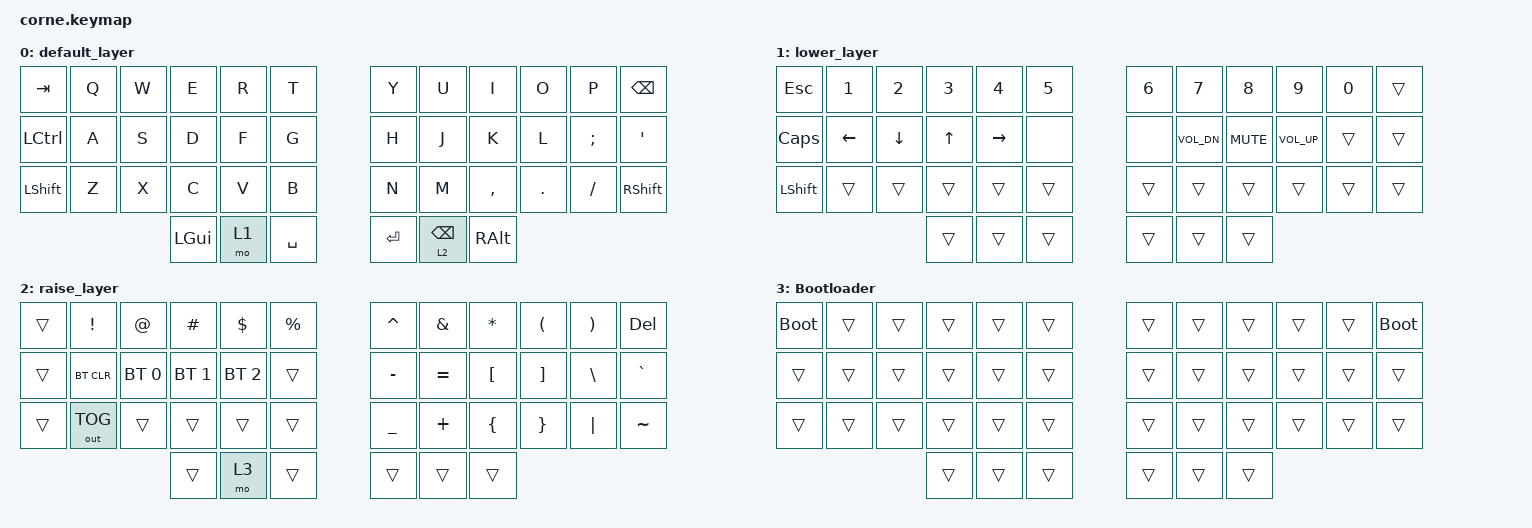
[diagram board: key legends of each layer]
/*
 * Copyright (c) 2020 The ZMK Contributors
 *
 * SPDX-License-Identifier: MIT
 */

#include <behaviors.dtsi>
#include <dt-bindings/zmk/bt.h>
#include <dt-bindings/zmk/keys.h>
#include <dt-bindings/zmk/outputs.h>

#define DEFAULT 0
#define LOWER   1
#define RAISE   2
#define ADJUST  3

&lt {
};

/ {
    conditional_layers {
        compatible = "zmk,conditional-layers";

        tri_layer {
            if-layers = <LOWER RAISE>;
            then-layer = <ADJUST>;
        };
    };

    keymap {
        compatible = "zmk,keymap";

        default_layer {
            // -----------------------------------------------------------------------------------------
            // |  TAB |  Q  |  W  |  E  |  R  |  T      |   |  Y      |  U   |  I  |  O  |  P  | BKSP |
            // | CTRL |  A  |  S  |  D  |  F  |  G      |   |  H      |  J   |  K  |  L  |  ;  |  '   |
            // | SHFT |  Z  |  X  |  C  |  V  |  B      |   |  N      |  M   |  ,  |  .  |  /  | SHFT |
            //                    | GUI | LWR |  SPC    |   | RGUI/ENT | RSE  | ALT |

            bindings = <
&kp TAB    &kp Q  &kp W  &kp E     &kp R  &kp T        &kp Y      &kp U            &kp I      &kp O    &kp P     &kp BSPC
&kp LCTRL  &kp A  &kp S  &kp D     &kp F  &kp G        &kp H      &kp J            &kp K      &kp L    &kp SEMI  &kp SQT
&kp LSHFT  &kp Z  &kp X  &kp C     &kp V  &kp B        &kp N      &kp M            &kp COMMA  &kp DOT  &kp FSLH  &kp RSHFT
                         &kp LGUI  &mo 1  &kp SPACE    &kp ENTER  &lt 2 BACKSPACE  &kp RALT
            >;
        };

        lower_layer {
            // -----------------------------------------------------------------------------------------
            // |  TAB |  1  |  2  |  3  |  4  |  5    |   |  6  |  7  |  8  |  9  |  0  | DEL  |
            // |      | LFT | DWN |  UP | RGT |       |   |     |     |     |     |     |      |
            // | SHFT |     |     |     |     |       |   |     |     |     |     |     |
            //                    | GUI |     | SPC   |   | ENT |     | ALT |

            bindings = <
&kp ESCAPE  &kp N1    &kp N2    &kp N3  &kp N4     &kp N5    &kp N6  &kp N7        &kp N8      &kp N9        &kp N0  &trans
&kp CAPS    &kp LEFT  &kp DOWN  &kp UP  &kp RIGHT  &none     &none   &kp C_VOL_DN  &kp C_MUTE  &kp C_VOL_UP  &trans  &trans
&kp LSHFT   &trans    &trans    &trans  &trans     &trans    &trans  &trans        &trans      &trans        &trans  &trans
                                &trans  &trans     &trans    &trans  &trans        &trans
            >;
        };

        raise_layer {
            // -----------------------------------------------------------------------------------------
            // | ESC  |  !  |  @  |  #  |  $  |  %  |   |  ^  |  &  |  *  |  (  |  )  | BKSP |
            // | CTRL |     |     |     |     |     |   |  -  |  =  |  [  |  ]  |  \  |  `   |
            // | SHFT |     |     |     |     |     |   |  _  |  +  |  {  |  }  | "|" |  ~   |
            //                    | GUI |     | SPC |   | ENT |     | ALT |

            bindings = <
&trans  &kp EXCL    &kp AT        &kp HASH      &kp DLLR      &kp PRCNT    &kp CARET  &kp AMPS   &kp ASTERISK  &kp LPAR  &kp RPAR  &kp DEL
&trans  &bt BT_CLR  &bt BT_SEL 0  &bt BT_SEL 1  &bt BT_SEL 2  &trans       &kp MINUS  &kp EQUAL  &kp LBKT      &kp RBKT  &kp BSLH  &kp GRAVE
&trans  &out OUT_TOG  &trans        &trans        &trans        &trans       &kp UNDER  &kp PLUS   &kp LBRC      &kp RBRC  &kp PIPE  &kp TILDE
                                  &trans        &mo 3         &trans       &trans     &trans     &trans
            >;
        };

        Bootloader {
            bindings = <
&bootloader  &trans  &trans  &trans  &trans  &trans    &trans  &trans  &trans  &trans  &trans  &bootloader
&trans       &trans  &trans  &trans  &trans  &trans    &trans  &trans  &trans  &trans  &trans  &trans
&trans       &trans  &trans  &trans  &trans  &trans    &trans  &trans  &trans  &trans  &trans  &trans
                             &trans  &trans  &trans    &trans  &trans  &trans
            >;
        };

        // -----------------------------------------------------------------------------------------
        // |  F1      |  F2 |  F3   |  F4        | F5   | F6  |   | F7  |  F8 |  F9 | F10  | F11 | F12    |
        // | bri up   |     | prev  | Play/Pause | next |     |   |     | MUT | Vo- | vol+ |     |        |
        // | bri down |     |       |            | BT1  | BT2 |   |     |     |     |      |     | BTCLR  |
        //                          |            | LWR  |     |   |     | RSE |     |
    };
};
